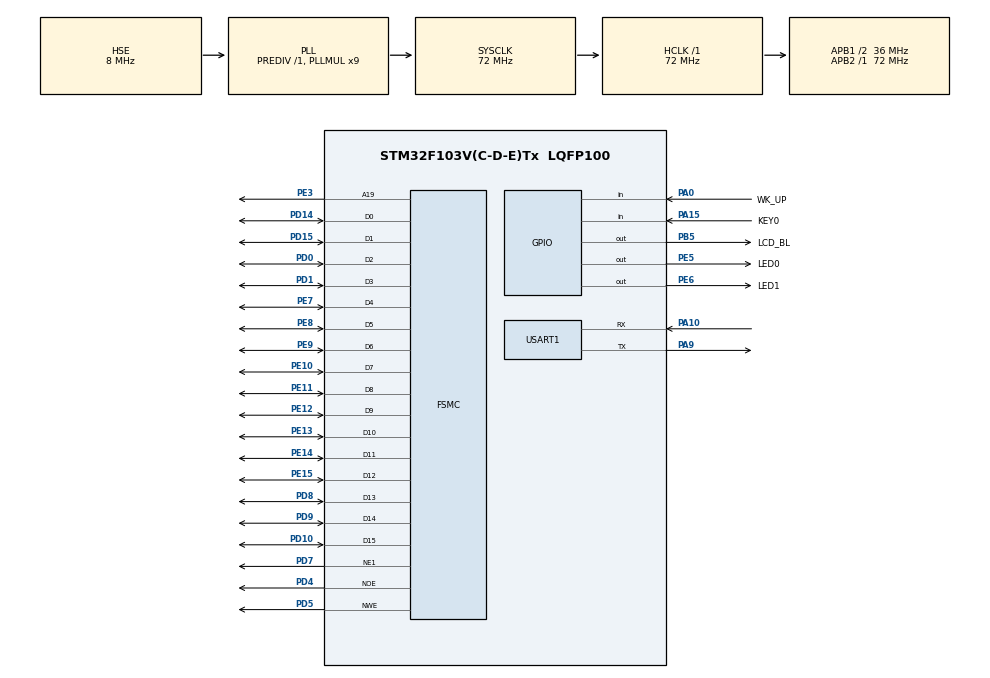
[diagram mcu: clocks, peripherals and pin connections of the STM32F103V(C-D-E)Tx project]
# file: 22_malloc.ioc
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FSMC.AddressSetupTime1=0
FSMC.DataSetupTime1=15
FSMC.ExtendedAddressSetupTime1=0
FSMC.ExtendedDataSetupTime1=1
FSMC.ExtendedMode1=FSMC_EXTENDED_MODE_ENABLE
Mcu.Family=STM32F1
Mcu.Name=STM32F103V(C-D-E)Tx
Mcu.Package=LQFP100
NVIC.PriorityGroup=NVIC_PRIORITYGROUP_2
NVIC.TIM4_IRQn=true\:2\:1\:true\:false\:true\:true\:true\:true
NVIC.USART1_IRQn=true\:2\:2\:true\:false\:true\:true\:true\:true
OSC_IN.Mode=HSE-External-Oscillator
OSC_IN.Signal=RCC_OSC_IN
OSC_OUT.Mode=HSE-External-Oscillator
OSC_OUT.Signal=RCC_OSC_OUT
PA0-WKUP.GPIO_Label=WK_UP
PA0-WKUP.GPIO_PuPd=GPIO_PULLDOWN
PA0-WKUP.Signal=GPIO_Input
PA10.Mode=Asynchronous
PA10.Signal=USART1_RX
PA13.Mode=Serial_Wire
PA13.Signal=SYS_JTMS-SWDIO
PA14.Mode=Serial_Wire
PA14.Signal=SYS_JTCK-SWCLK
PA15.GPIO_Label=KEY0
PA15.GPIO_PuPd=GPIO_PULLDOWN
PA15.Signal=GPIO_Input
PA9.Mode=Asynchronous
PA9.Signal=USART1_TX
PB5.GPIO_Label=LCD_BL
PB5.GPIO_PuPd=GPIO_PULLUP
PB5.GPIO_Speed=GPIO_SPEED_FREQ_HIGH
PB5.PinState=GPIO_PIN_SET
PB5.Signal=GPIO_Output
PC14-OSC32_IN.Mode=LSE-External-Oscillator
PC14-OSC32_IN.Signal=RCC_OSC32_IN
PC15-OSC32_OUT.Mode=LSE-External-Oscillator
PC15-OSC32_OUT.Signal=RCC_OSC32_OUT
PD0.Mode=16b-d1
PD0.Signal=FSMC_D2
PD1.Mode=16b-d1
PD1.Signal=FSMC_D3
PD10.Mode=16b-d1
PD10.Signal=FSMC_D15
PD14.Mode=16b-d1
PD14.Signal=FSMC_D0
PD15.Mode=16b-d1
PD15.Signal=FSMC_D1
PD4.Mode=Lcd1
PD4.Signal=FSMC_NOE
PD5.Mode=Lcd1
PD5.Signal=FSMC_NWE
PD7.Mode=NorPsramChipSelect1_1
PD7.Signal=FSMC_NE1
PD8.Mode=16b-d1
PD8.Signal=FSMC_D13
PD9.Mode=16b-d1
PD9.Signal=FSMC_D14
PE10.Mode=16b-d1
PE10.Signal=FSMC_D7
PE11.Mode=16b-d1
PE11.Signal=FSMC_D8
PE12.Mode=16b-d1
PE12.Signal=FSMC_D9
PE13.Mode=16b-d1
PE13.Signal=FSMC_D10
PE14.Mode=16b-d1
PE14.Signal=FSMC_D11
PE15.Mode=16b-d1
PE15.Signal=FSMC_D12
PE3.Mode=A19_1
PE3.Signal=FSMC_A19
PE5.GPIO_Label=LED0
PE5.GPIO_PuPd=GPIO_PULLUP
PE5.GPIO_Speed=GPIO_SPEED_FREQ_HIGH
PE5.PinState=GPIO_PIN_SET
PE5.Signal=GPIO_Output
PE6.GPIO_Label=LED1
PE6.GPIO_PuPd=GPIO_PULLUP
PE6.GPIO_Speed=GPIO_SPEED_FREQ_HIGH
PE6.PinState=GPIO_PIN_SET
PE6.Signal=GPIO_Output
PE7.Mode=16b-d1
PE7.Signal=FSMC_D4
PE8.Mode=16b-d1
PE8.Signal=FSMC_D5
PE9.Mode=16b-d1
PE9.Signal=FSMC_D6
ProjectManager.HeapSize=0x200
ProjectManager.StackSize=0x400
ProjectManager.TargetToolchain=STM32CubeIDE
RCC.AHBFreq_Value=72000000
RCC.APB1CLKDivider=RCC_HCLK_DIV2
RCC.APB1Freq_Value=36000000
RCC.APB1TimFreq_Value=72000000
RCC.APB2Freq_Value=72000000
RCC.APB2TimFreq_Value=72000000
RCC.HCLKFreq_Value=72000000
RCC.PLLMUL=RCC_PLL_MUL9
RCC.PLLSourceVirtual=RCC_PLLSOURCE_HSE
RCC.SYSCLKFreq_VALUE=72000000
RCC.SYSCLKSource=RCC_SYSCLKSOURCE_PLLCLK
RCC.USBFreq_Value=72000000
TIM4.AutoReloadPreload=TIM_AUTORELOAD_PRELOAD_ENABLE
TIM4.Period=1000-1
TIM4.Prescaler=7200-1
USART1.VirtualMode=VM_ASYNC
VP_TIM4_VS_ClockSourceINT.Mode=Internal
board=custom

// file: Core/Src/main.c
/* USER CODE BEGIN Header */
/**
 ****************************************************************************************************
 * @file        main.c
 * @author      ALIENTEK
 * @brief       malloc code
 * @license     Copyright (C) 2012-2024, ALIENTEK
 ****************************************************************************************************
 * @attention
 *
 * platform     : ALIENTEK M100-STM32F103 board
 * website      : www.alientek.com
 * forum        : www.openedv.com/forum.php
 *
 * change logs  :
 * version      data         notes
 * V1.0         20240409     the first version
 *
 ****************************************************************************************************
 */
/* USER CODE END Header */
#include "main.h"
#include "tim.h"
#include "usart.h"
#include "gpio.h"
#include "fsmc.h"

/* USER CODE BEGIN Includes */
#include "../../ATK_Middlewares/MALLOC/malloc.h"
#include "../../BSP/LED/led.h"
#include "../../BSP/KEY/key.h"
#include "../../BSP/LCD/lcd.h"
/* USER CODE END Includes */

void SystemClock_Config(void);

/* USER CODE BEGIN 0 */
/**
 * @brief   Displays information about the experiment
 * @param   None
 * @retval  None
 */
void stm32f103ve_show_mesg(void)
{
	/* The serial port outputs the experimental information */
	printf("\n");
	printf("********************************\r\n");
	printf("STM32F103\r\n");
	printf("MALLOC Test\r\n");
	printf("ATOM@ALIENTEK\r\n");
	printf("********************************\r\n");
	printf("\r\n");
}
/* USER CODE END 0 */

int main(void)
{
  /* USER CODE BEGIN 1 */
  uint8_t t = 0;
  uint8_t key;
  uint8_t *p_sramin = NULL;
  uint32_t tp_sramin = 0;
  uint8_t paddr[32];
  uint16_t memused;
  /* USER CODE END 1 */

  /* MCU Configuration--------------------------------------------------------*/

  /* Reset of all peripherals, Initializes the Flash interface and the Systick. */
  HAL_Init();

  /* Configure the system clock */
  SystemClock_Config();

  /* Initialize all configured peripherals */
  MX_GPIO_Init();
  MX_USART1_UART_Init();
  MX_FSMC_Init();
  MX_TIM4_Init();
  /* USER CODE BEGIN 2 */
  lcd_init();                         /* Initialize LCD */
  my_mem_init(SRAMIN);                /* Initialize the internal SRAM memory pool */
  stm32f103ve_show_mesg();
  lcd_show_string(30, 50, 200, 16, 16, "STM32", RED);
  lcd_show_string(30, 70, 200, 16, 16, "MALLOC TEST", RED);
  lcd_show_string(30, 90, 200, 16, 16, "ATOM@ALIENTEK", RED);

  lcd_show_string(30, 110, 200, 16, 16, "WK_UP:Malloc & WR & Show", RED);
  lcd_show_string(30, 130, 200, 16, 16, "KEY0:Free", RED);

  lcd_show_string(30, 162, 200, 16, 16, "SRAMIN USED:", BLUE);
  /* USER CODE END 2 */

  /* Infinite loop */
  /* USER CODE BEGIN WHILE */
  while (1)
  {
    key = key_scan(0);
    if (key == WKUP_PRES)
    {
      /* request memory */
      p_sramin = mymalloc(SRAMIN, 2048);

      /* Determine if the memory request was successful */
      if (p_sramin != NULL)
      {
        /* Use the requested memory */
        sprintf((char *)p_sramin, "SRAMIN: Malloc Test%03d", t + SRAMIN);
        lcd_show_string(30, 194, 239, 16, 16, (char *)p_sramin, BLUE);
      }
      else
      {
        myfree(SRAMIN, p_sramin);
        p_sramin = NULL;
      }
    }
    else if (key == KEY0_PRES)
    {
      /* free the memory */
      myfree(SRAMIN, p_sramin);
      p_sramin = NULL;
    }

    /* Shows the first memory address requested */
    if (tp_sramin != (uint32_t)p_sramin)
    {
      tp_sramin = (uint32_t)p_sramin;

      sprintf((char *)paddr, "SRAMIN: Addr: 0x%08X", p_sramin);
      lcd_show_string(30, 178, 239, 16, 16, (char *)paddr, BLUE);
    }
    else if (p_sramin == NULL)
    {
      lcd_fill(30, 178, 239, 319, WHITE);
    }

    if (++t == 20)
    {
      t = 0;

      /* Shows internal SRAM usage */
      memused = my_mem_perused(SRAMIN);
      sprintf((char *)paddr, "%d.%01d%%", memused / 10, memused % 10);
      lcd_show_string(30 + 96, 162, 200, 16, 16, (char *)paddr, BLUE);

      LED0_TOGGLE();     /* flashing LED0 indicates that the system is running */
    }

    HAL_Delay(10);       /* delay 10ms */
    /* USER CODE END WHILE */

  }
}

void SystemClock_Config(void)
{
  RCC_OscInitTypeDef RCC_OscInitStruct = {0};
  RCC_ClkInitTypeDef RCC_ClkInitStruct = {0};

  /** Initializes the RCC Oscillators according to the specified parameters
  * in the RCC_OscInitTypeDef structure.
  */
  RCC_OscInitStruct.OscillatorType = RCC_OSCILLATORTYPE_HSE;
  RCC_OscInitStruct.HSEState = RCC_HSE_ON;
  RCC_OscInitStruct.HSEPredivValue = RCC_HSE_PREDIV_DIV1;
  RCC_OscInitStruct.HSIState = RCC_HSI_ON;
  RCC_OscInitStruct.PLL.PLLState = RCC_PLL_ON;
  RCC_OscInitStruct.PLL.PLLSource = RCC_PLLSOURCE_HSE;
  RCC_OscInitStruct.PLL.PLLMUL = RCC_PLL_MUL9;
  if (HAL_RCC_OscConfig(&RCC_OscInitStruct) != HAL_OK)
  {
    Error_Handler();
  }

  /** Initializes the CPU, AHB and APB buses clocks
  */
  RCC_ClkInitStruct.ClockType = RCC_CLOCKTYPE_HCLK|RCC_CLOCKTYPE_SYSCLK
                              |RCC_CLOCKTYPE_PCLK1|RCC_CLOCKTYPE_PCLK2;
  RCC_ClkInitStruct.SYSCLKSource = RCC_SYSCLKSOURCE_PLLCLK;
  RCC_ClkInitStruct.AHBCLKDivider = RCC_SYSCLK_DIV1;
  RCC_ClkInitStruct.APB1CLKDivider = RCC_HCLK_DIV2;
  RCC_ClkInitStruct.APB2CLKDivider = RCC_HCLK_DIV1;

  if (HAL_RCC_ClockConfig(&RCC_ClkInitStruct, FLASH_LATENCY_2) != HAL_OK)
  {
    Error_Handler();
  }
}

void Error_Handler(void)
{
  __disable_irq();
  while (1)
  {
  }
}
